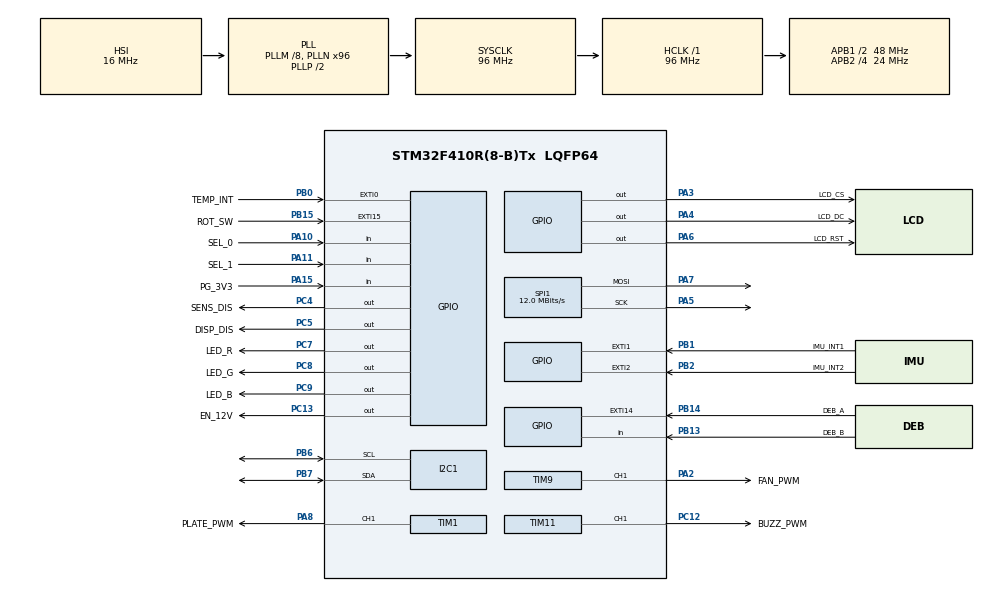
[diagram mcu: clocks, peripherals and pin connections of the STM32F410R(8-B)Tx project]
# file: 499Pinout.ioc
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Mcu.Family=STM32F4
Mcu.Name=STM32F410R(8-B)Tx
Mcu.Package=LQFP64
NVIC.EXTI15_10_IRQn=true\:0\:0\:false\:false\:true\:true\:true\:true
NVIC.PriorityGroup=NVIC_PRIORITYGROUP_4
NVIC.TIM1_BRK_TIM9_IRQn=true\:0\:0\:false\:false\:true\:true\:true\:true
NVIC.TIM5_IRQn=true\:1\:0\:true\:false\:true\:true\:true\:true
PA10.GPIO_Label=SEL_0
PA10.Signal=GPIO_Input
PA11.GPIO_Label=SEL_1
PA11.Signal=GPIO_Input
PA13.Mode=Trace_Asynchronous_SW
PA13.Signal=SYS_JTMS-SWDIO
PA14.Mode=Trace_Asynchronous_SW
PA14.Signal=SYS_JTCK-SWCLK
PA15.GPIO_Label=PG_3V3
PA15.Signal=GPIO_Input
PA2.GPIO_Label=FAN_PWM
PA2.Signal=S_TIM9_CH1
PA3.GPIO_Label=LCD_CS
PA3.Signal=GPIO_Output
PA4.GPIO_Label=LCD_DC
PA4.Signal=GPIO_Output
PA5.Mode=TX_Only_Simplex_Unidirect_Master
PA5.Signal=SPI1_SCK
PA6.GPIO_Label=LCD_RST
PA6.Signal=GPIO_Output
PA7.Mode=TX_Only_Simplex_Unidirect_Master
PA7.Signal=SPI1_MOSI
PA8.GPIO_Label=PLATE_PWM
PA8.Signal=S_TIM1_CH1
PB0.GPIO_Label=TEMP_INT
PB0.Signal=GPXTI0
PB1.GPIO_Label=IMU_INT1
PB1.Signal=GPXTI1
PB13.GPIO_Label=DEB_B
PB13.Signal=GPIO_Input
PB14.GPIO_Label=DEB_A
PB14.GPIO_ModeDefaultEXTI=GPIO_MODE_IT_FALLING
PB14.Signal=GPXTI14
PB15.GPIO_Label=ROT_SW
PB15.GPIO_ModeDefaultEXTI=GPIO_MODE_IT_FALLING
PB15.Signal=GPXTI15
PB2.GPIO_Label=IMU_INT2
PB2.Signal=GPXTI2
PB3.Mode=Trace_Asynchronous_SW
PB3.Signal=SYS_JTDO-SWO
PB6.Mode=I2C
PB6.Signal=I2C1_SCL
PB7.Mode=I2C
PB7.Signal=I2C1_SDA
PC12.GPIO_Label=BUZZ_PWM
PC12.Signal=S_TIM11_CH1
PC13-ANTI_TAMP.GPIO_Label=EN_12V
PC13-ANTI_TAMP.Signal=GPIO_Output
PC4.GPIO_Label=SENS_DIS
PC4.Signal=GPIO_Output
PC5.GPIO_Label=DISP_DIS
PC5.Signal=GPIO_Output
PC7.GPIO_Label=LED_R
PC7.Signal=GPIO_Output
PC8.GPIO_Label=LED_G
PC8.Signal=GPIO_Output
PC9.GPIO_Label=LED_B
PC9.Signal=GPIO_Output
PH0\ -\ OSC_IN.Mode=HSE-External-Oscillator
PH0\ -\ OSC_IN.Signal=RCC_OSC_IN
PH1\ -\ OSC_OUT.Mode=HSE-External-Oscillator
PH1\ -\ OSC_OUT.Signal=RCC_OSC_OUT
ProjectManager.HeapSize=0x200
ProjectManager.StackSize=0x400
ProjectManager.TargetToolchain=STM32CubeIDE
RCC.48MHZClocksFreq_Value=48000000
RCC.AHBFreq_Value=96000000
RCC.APB1CLKDivider=RCC_HCLK_DIV2
RCC.APB1Freq_Value=48000000
RCC.APB1TimFreq_Value=96000000
RCC.APB2CLKDivider=RCC_HCLK_DIV4
RCC.APB2Freq_Value=24000000
RCC.APB2TimFreq_Value=48000000
RCC.CortexFreq_Value=96000000
RCC.HCLKFreq_Value=96000000
RCC.HSE_VALUE=26000000
RCC.HSI_VALUE=16000000
RCC.LSE_VALUE=32768
RCC.PLLM=8
RCC.PLLN=96
RCC.SYSCLKFreq_VALUE=96000000
RCC.SYSCLKSource=RCC_SYSCLKSOURCE_PLLCLK
RCC.VCOOutputFreq_Value=192000000
SH.S_TIM11_CH1.0=TIM11_CH1,PWM Generation1 CH1
SH.S_TIM1_CH1.0=TIM1_CH1,PWM Generation1 CH1
SH.S_TIM9_CH1.0=TIM9_CH1,PWM Generation1 CH1
SPI1.CalculateBaudRate=12.0 MBits/s
SPI1.Direction=SPI_DIRECTION_2LINES
SPI1.Mode=SPI_MODE_MASTER
SPI1.VirtualType=VM_MASTER
TIM1.Channel-PWM\ Generation1\ CH1=TIM_CHANNEL_1
TIM1.Period=96
TIM1.Prescaler=1000
TIM11.Channel=TIM_CHANNEL_1
TIM11.Period=34359
TIM11.Pulse=17179
TIM5.AutoReloadPreload=TIM_AUTORELOAD_PRELOAD_ENABLE
TIM5.Channel-Output\ Compare1\ No\ Output=TIM_CHANNEL_1
TIM5.Period=1920
TIM5.Prescaler=10000
TIM6.Prescaler=9600
TIM9.Channel-Output\ Compare2\ No\ Output=TIM_CHANNEL_2
TIM9.Channel-PWM\ Generation1\ CH1=TIM_CHANNEL_1
TIM9.Period=480
TIM9.Prescaler=1000
TIM9.Pulse-PWM\ Generation1\ CH1=240
VP_TIM11_VS_ClockSourceINT.Mode=Enable_Timer
VP_TIM5_VS_no_output1.Mode=Output Compare1 No Output
VP_TIM6_VS_ClockSourceINT.Mode=Enable_Timer
VP_TIM9_VS_no_output2.Mode=Output Compare2 No Output
board=custom

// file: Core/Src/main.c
/* USER CODE BEGIN Header */
/**
  ******************************************************************************
  * @file           : main.c
  * @brief          : Main program body
  ******************************************************************************
  * @attention
  *
  * Copyright (c) 2022 STMicroelectronics.
  * All rights reserved.
  *
  * This software is licensed under terms that can be found in the LICENSE file
  * in the root directory of this software component.
  * If no LICENSE file comes with this software, it is provided AS-IS.
  *
  ******************************************************************************
  */
/* USER CODE END Header */
#include "main.h"
#include "i2c.h"
#include "spi.h"
#include "tim.h"
#include "gpio.h"

/* USER CODE BEGIN Includes */
#include "LCD_Test.h"
#include "image.h"
#include "LCD_Test.h"
#include "LCD_1in8.h"
#include "DEV_Config.h"
#include "SensorInterfacing.h"
#include "PWM_Config.h"
#include "Control.h"
#include "LCD_Routines.h"
/* USER CODE END Includes */

/* USER CODE BEGIN PV */
volatile float measured_amb_temp = 0.0f;
volatile float measured_hotplate_temp = 0.0f;
volatile int STATE = 0;
volatile float user_temp = 30.0f;
volatile float user_preheat_temp = 30.0f;
volatile float user_preheat_time = 5.0f;
volatile float user_reflow_time = 5.0f;
volatile int set_user_temp_flag = 0;
PIController fan = 	{ .Kp = FAN_KP, .Ki = FAN_KI, .lim_min_int = FAN_LIM_MIN_INT,
				  .lim_max_int = FAN_LIM_MAX_INT, .lim_min = FAN_LIM_MAX,
				  .lim_max = FAN_LIM_MAX, .T = PERIOD
					};
PIController hotplate = { .Kp = FAN_KP, .Ki = FAN_KI, .lim_min_int = FAN_LIM_MIN_INT,
						  .lim_max_int = FAN_LIM_MAX_INT, .lim_min = FAN_LIM_MAX,
						  .lim_max = FAN_LIM_MAX, .T = PERIOD
						};
/* USER CODE END PV */

void SystemClock_Config(void);
/* USER CODE BEGIN PFP */

/* Initialize peripherals, fan, and hotplate, control systems in off state, LCD display IDLE */
void System_Initialization()
{

	/* Disable all peripherals */
	HAL_GPIO_WritePin(SENS_DIS_GPIO_Port, SENS_DIS_Pin, GPIO_PIN_SET);	// Disable sensors
	HAL_GPIO_WritePin(EN_12V_GPIO_Port, EN_12V_Pin, GPIO_PIN_SET);		// Disable hotplate voltage
	PWM_Update(fan_pwm, TIM_CHANNEL_1, 1);								// Disable fan (100% DC)
	PWM_Update(hotplate_pwm, TIM_CHANNEL_1, 1);							// Disable hotplate (100% DC)

	/* Initialize control structures */
	Controller_Init(&fan);
	Controller_Init(&hotplate);

	/* Initialize LCD */
	LCD_init();
	LCD_Refresh(STATE);

};

/* Find oscillation for ZN calculation of controller gains */
void ZN_Tuning()
{

	  // Enable sensors
	  HAL_GPIO_WritePin(SENS_DIS_GPIO_Port, SENS_DIS_Pin, GPIO_PIN_RESET);

	  // Start hotplate at 50% Duty Cycle
	HAL_TIM_PWM_Start(hotplate_pwm, TIM_CHANNEL_1);
	PWM_Update(hotplate_pwm, TIM_CHANNEL_1, .5);

	// Set integral gain to 0
	hotplate.Ki = 0;

	while (1) {

		// Use the user temp to configure KP gain
		hotplate.Kp = user_temp;

		// Observe temperature response
		update_temps();
		LCD_updt_temps(&measured_hotplate_temp, &measured_amb_temp);
		LCD_Refresh(2);
		HAL_Delay(100);
	}

	/* Note on final gain calculations: */
	/* Gain at which system critically stable: Ku
	 * Period of oscillation at critical stability: Pu
	 * Kp = Ku / 2.2
	 * Ki = Kp * T / ( Pu / 1.2 )
	 *
	 * */

};

/* USER CODE END PFP */

/* USER CODE BEGIN 0 */

/* Update current system temperatures */
void update_temps()
{
	  measured_amb_temp = read_ambient_temp();
	  measured_hotplate_temp = read_plate_temp();
};
/* USER CODE END 0 */

int main(void)
{

  /* MCU Configuration--------------------------------------------------------*/

  /* Reset of all peripherals, Initializes the Flash interface and the Systick. */
  HAL_Init();

  /* Configure the system clock */
  SystemClock_Config();

  /* Initialize all configured peripherals */
  MX_GPIO_Init();
  MX_I2C1_Init();
  MX_TIM5_Init();
  MX_SPI1_Init();
  MX_TIM9_Init();
  MX_TIM1_Init();
  MX_TIM11_Init();
  MX_TIM6_Init();
  /* USER CODE BEGIN 2 */

  /** Initialize System **/
  System_Initialization();

  /** Take measurements for calculation of PI gain constants **/
//  ZN_Tuning();

  // Initialize local variables
  int heating_stage = 0;
  int graph_refresh = 0;

  /* USER CODE END 2 */

  /* Infinite loop */
  while (1)
  {

    /* USER CODE BEGIN 3 */

	  /** SYSTEM STATE MACHINE **/
	  switch (STATE)
	  {

		  // Idle state
		  case 0:

			  // Display Idle screen
			  LCD_Refresh(STATE);

			  // Reset local variables
			  heating_stage = 0;
			  graph_refresh = 0;

				/* Disable all peripherals */
				HAL_GPIO_WritePin(SENS_DIS_GPIO_Port, SENS_DIS_Pin, GPIO_PIN_SET);	// Disable sensors
				HAL_GPIO_WritePin(EN_12V_GPIO_Port, EN_12V_Pin, GPIO_PIN_SET);		// Disable hotplate voltage
				PWM_Update(fan_pwm, TIM_CHANNEL_1, 1);								// Disable fan (100% DC)
				PWM_Update(hotplate_pwm, TIM_CHANNEL_1, 1);							// Disable hotplate (100% DC)

			  break;

		  // Display Setup screen
		  case 1:

			  // Enable Plate Power
			  HAL_GPIO_WritePin(EN_12V_GPIO_Port, EN_12V_Pin, GPIO_PIN_RESET);

			  // Enable sensors
			  HAL_GPIO_WritePin(SENS_DIS_GPIO_Port, SENS_DIS_Pin, GPIO_PIN_RESET);

			  // Enable fan
			  PWM_Update(fan_pwm, TIM_CHANNEL_1, .5);

			  // Enable LCD
			  HAL_GPIO_WritePin(DISP_DIS_GPIO_Port, DISP_DIS_Pin, GPIO_PIN_RESET);

			  // Update user inputs and display
			  LCD_usr_inputs(&user_preheat_temp, &user_preheat_time, &user_temp, &user_reflow_time);
			  LCD_Refresh(STATE);
			  update_temps();

			  break;

		  // Display heating screen
		  case 2:

				  // Update LCD less frequently to remove screen refresh overhead
				  if (graph_refresh == 0) {	// Scuffed timerless version of slowing refresh rate

					  LCD_updt_temps(&measured_hotplate_temp, &measured_amb_temp);
					  LCD_Refresh(STATE);

				  }
				  graph_refresh = (graph_refresh + 1) % 100;

				  // Update temperature measurements for control fx
				  update_temps();

						  switch (heating_stage)
						  {

						  // First stage, max hotplate PWM to reach preheat temp
						  case 0:

							  // If hotplate is below desired temp, max out
							  if (measured_hotplate_temp < user_temp) {

								  PWM_Update(hotplate_pwm, TIM_CHANNEL_1, 0.0);	// Max plate by turning FET off

							  } else { // If hotplate has reached desired temp, move to next stage

								  heating_stage++;

							  }

							  break;

						  // Second stage, maintain hotplate at preheat temp for xxx time
						  case 1:

							  // Check if timer enabled, start timer
							  if (HAL_TIM_Base_GetState(control_timer) != HAL_TIM_STATE_BUSY) {

								  start_preheat();

							  }	else if ( preheat_status() ){	// If preheat time has been completed

								  HAL_TIM_Base_Stop_IT(control_timer);
								  heating_stage++;

							  }

							  break;

						  // Third stage, max hotplate PWM to reach reflow temp
						  case 2:

							  // If hotplate is below desired temp, max out
							  if (measured_hotplate_temp < user_temp) {

								  PWM_Update(hotplate_pwm, TIM_CHANNEL_1, 0.0);	// Max plate by turning FET off

							  } else { // If hotplate has reached desired temp, move to next stage

								  heating_stage++;

							  }

							  break;

						  // Fourth stage, maintain hotplate at reflow temp for xxx time
						  case 3:

							  // Check if timer enabled, start timer
							  if (HAL_TIM_Base_GetState(control_timer) != HAL_TIM_STATE_BUSY) {

								  start_reflow();

							  }	else if ( reflow_status() ){	// If reflow time has been completed

								  HAL_TIM_Base_Stop_IT(control_timer);

								  // Reset heating_stage
								  heating_stage = 0;

								  // Send system state back to initialization
								  STATE = 0;

							  }

							  break;

						  default :

							  break;

						  }

		  default :

			  break;

		  }

  }
  /* USER CODE END 3 */
}

void SystemClock_Config(void)
{
  RCC_OscInitTypeDef RCC_OscInitStruct = {0};
  RCC_ClkInitTypeDef RCC_ClkInitStruct = {0};

  /** Configure the main internal regulator output voltage
  */
  __HAL_RCC_PWR_CLK_ENABLE();
  __HAL_PWR_VOLTAGESCALING_CONFIG(PWR_REGULATOR_VOLTAGE_SCALE1);

  /** Initializes the RCC Oscillators according to the specified parameters
  * in the RCC_OscInitTypeDef structure.
  */
  RCC_OscInitStruct.OscillatorType = RCC_OSCILLATORTYPE_HSI;
  RCC_OscInitStruct.HSIState = RCC_HSI_ON;
  RCC_OscInitStruct.HSICalibrationValue = RCC_HSICALIBRATION_DEFAULT;
  RCC_OscInitStruct.PLL.PLLState = RCC_PLL_ON;
  RCC_OscInitStruct.PLL.PLLSource = RCC_PLLSOURCE_HSI;
  RCC_OscInitStruct.PLL.PLLM = 8;
  RCC_OscInitStruct.PLL.PLLN = 96;
  RCC_OscInitStruct.PLL.PLLP = RCC_PLLP_DIV2;
  RCC_OscInitStruct.PLL.PLLQ = 4;
  RCC_OscInitStruct.PLL.PLLR = 2;
  if (HAL_RCC_OscConfig(&RCC_OscInitStruct) != HAL_OK)
  {
    Error_Handler();
  }

  /** Initializes the CPU, AHB and APB buses clocks
  */
  RCC_ClkInitStruct.ClockType = RCC_CLOCKTYPE_HCLK|RCC_CLOCKTYPE_SYSCLK
                              |RCC_CLOCKTYPE_PCLK1|RCC_CLOCKTYPE_PCLK2;
  RCC_ClkInitStruct.SYSCLKSource = RCC_SYSCLKSOURCE_PLLCLK;
  RCC_ClkInitStruct.AHBCLKDivider = RCC_SYSCLK_DIV1;
  RCC_ClkInitStruct.APB1CLKDivider = RCC_HCLK_DIV2;
  RCC_ClkInitStruct.APB2CLKDivider = RCC_HCLK_DIV4;

  if (HAL_RCC_ClockConfig(&RCC_ClkInitStruct, FLASH_LATENCY_3) != HAL_OK)
  {
    Error_Handler();
  }
}

void Error_Handler(void)
{
  __disable_irq();
  while (1)
  {
  }
}
